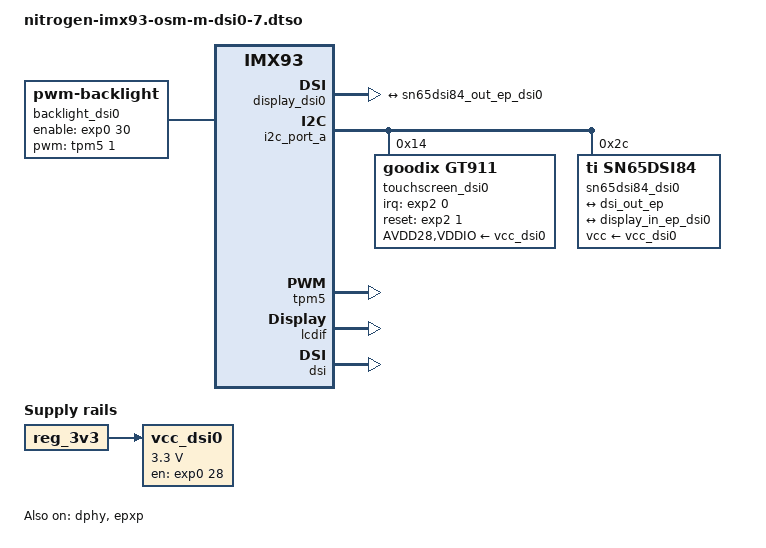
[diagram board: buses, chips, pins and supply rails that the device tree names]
// SPDX-License-Identifier: (GPL-2.0-or-later OR MIT)
/*
 * DSI0 display expansion board with BD070LIC3 display for Nitrogen i.MX93 OSM-M
 *
 * Copyright 2026 Ezurio LLC
 */

/dts-v1/;
/plugin/;

#include <dt-bindings/gpio/gpio.h>
#include <dt-bindings/interrupt-controller/irq.h>

#include "nitrogen-imx93-bd-panel.dtsi"

&{/} {
	backlight_dsi0: backlight-dsi0 {
		compatible = "pwm-backlight";
		brightness-levels = <0 1 2 3 4 5 6 7 8 9 10>;
		default-brightness-level = <8>;
		pwms = <&tpm5 1 30000 0>; /* 33.3 kHz */
		enable-gpios = <&exp0 30 GPIO_ACTIVE_HIGH>; /* DSI_A_BL_EN / GPIO_C_5 */
	};

	vcc_dsi0: regulator-vcc-dsi0 {
		compatible = "regulator-fixed";
		regulator-name = "vcc_dsi0";
		regulator-min-microvolt = <3300000>;
		regulator-max-microvolt = <3300000>;
		vin-supply = <&reg_3v3>;
		gpio = <&exp0 28 GPIO_ACTIVE_HIGH>; /* DSI_A_VDD_EN / GPIO_C_4 */
		enable-active-high;
		startup-delay-us = <30000>;
	};

	display_dsi0: display-dsi0 {
		compatible = "panel-lvds";
		data-mapping = "vesa-24";
		power-supply = <&vcc_dsi0>;
		backlight = <&backlight_dsi0>;

		width-mm = <150>;
		height-mm = <94>;

		panel-timing {
			BD_PANEL_TIMING
		};

		port {
			display_in_ep_dsi0: endpoint {
				remote-endpoint = <&sn65dsi84_out_ep_dsi0>;
			};
		};
	};

	display-subsystem {
		status = "okay";
	};
};

&dsi_out_ep {
	remote-endpoint = <&sn65dsi84_in_ep_dsi0>;
};

&i2c_port_a {
	#address-cells = <1>;
	#size-cells = <0>;

	touchscreen_dsi0: touchscreen-dsi0@14 {
		compatible = "goodix,gt911";
		reg = <0x14>;

		AVDD28-supply = <&vcc_dsi0>;
		VDDIO-supply = <&vcc_dsi0>;

		interrupts-extended = <&exp2 0 IRQ_TYPE_EDGE_FALLING>;
		interrupt-names = "irq";
		irq-gpios = <&exp2 0 (GPIO_ACTIVE_HIGH | GPIO_PULL_UP)>;
		reset-gpios = <&exp2 1 GPIO_ACTIVE_HIGH>;

		touchscreen-min-x = <0>;
		touchscreen-min-y = <0>;
		touchscreen-size-x = <1280>;
		touchscreen-size-y = <800>;
	};

	sn65dsi84_dsi0: sn65dsi84-dsi0@2c {
		compatible = "ti,sn65dsi84";
		reg = <0x2c>;
		vcc-supply = <&vcc_dsi0>;

		ports {
			#address-cells = <1>;
			#size-cells = <0>;

			port@0 {
				reg = <0>;

				sn65dsi84_in_ep_dsi0: endpoint {
					remote-endpoint = <&dsi_out_ep>;
					data-lanes = <1 2 3 4>;
				};
			};

			port@2 {
				reg = <2>;

				sn65dsi84_out_ep_dsi0: endpoint {
					remote-endpoint = <&display_in_ep_dsi0>;
				};
			};
		};
	};
};

&tpm5 { /* DSI / DISP_PWM0 backlight */
	status = "okay";
};

&lcdif {
	assigned-clock-rates = <576000000>, <144000000>, <400000000>, <133333333>;
	status = "okay";
};

&dphy {
	status = "okay";
};

&dsi {
	status = "okay";
};

&epxp {
	status = "okay";
};
